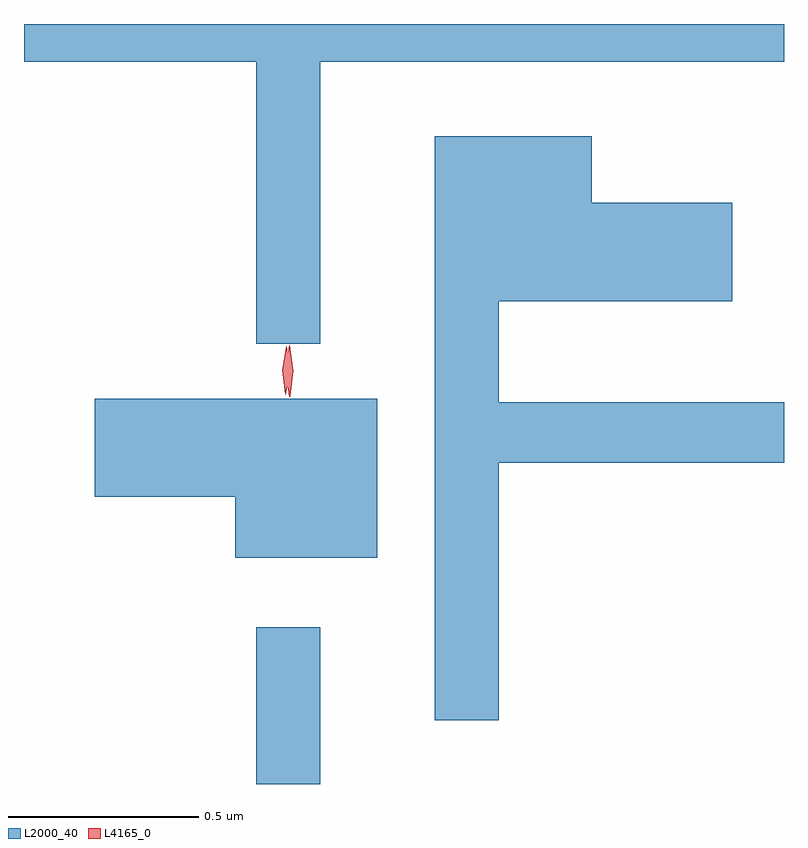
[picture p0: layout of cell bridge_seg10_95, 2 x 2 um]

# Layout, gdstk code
import gdstk
lib = gdstk.Library(unit=1e-6, precision=1e-09)
def R(c, l, rs):  # rectangles x0, y0, x1, y1
    for r in rs: c.add(gdstk.rectangle(r[:2], r[2:], *l))
def P(c, l, *ps):  # polygons
    for p in ps: c.add(gdstk.Polygon(p, *l))
L2000_40 = (2000, 40)
L4165_0 = (4165, 0)

bridge_seg10_95 = lib.new_cell('bridge_seg10_95')
R(bridge_seg10_95, L2000_40, [(1549.201,2169.735,1549.369,2170.148)])
P(bridge_seg10_95, L2000_40, [(1549.369,2171.636),(1550.59,2171.636),(1550.59,2171.735),(1548.59,2171.735),(1548.59,2171.636),(1549.201,2171.636),(1549.201,2170.893),(1549.369,2170.893)],
  [(1549.839,2170.581),(1550.59,2170.581),(1550.59,2170.739),(1549.839,2170.739),(1549.839,2171.006),(1550.454,2171.006),(1550.454,2171.264),(1550.084,2171.264),(1550.084,2171.439),(1549.671,2171.439),(1549.671,2169.903),(1549.839,2169.903)],
  [(1549.519,2170.749),(1548.776,2170.749),(1548.776,2170.491),(1549.146,2170.491),(1549.146,2170.331),(1549.519,2170.331)])
P(bridge_seg10_95, L4165_0, [(1549.288,2170.754),(1549.279,2170.822),(1549.288,2170.89),(1549.288,2170.89),(1549.289,2170.89),(1549.298,2170.822),(1549.29,2170.754),(1549.289,2170.754)],
  [(1549.279,2170.76),(1549.278,2170.761),(1549.27,2170.824),(1549.28,2170.886),(1549.28,2170.887),(1549.281,2170.886),(1549.29,2170.823),(1549.279,2170.761)])

lib.write_gds('bridge_seg10_95.gds')
